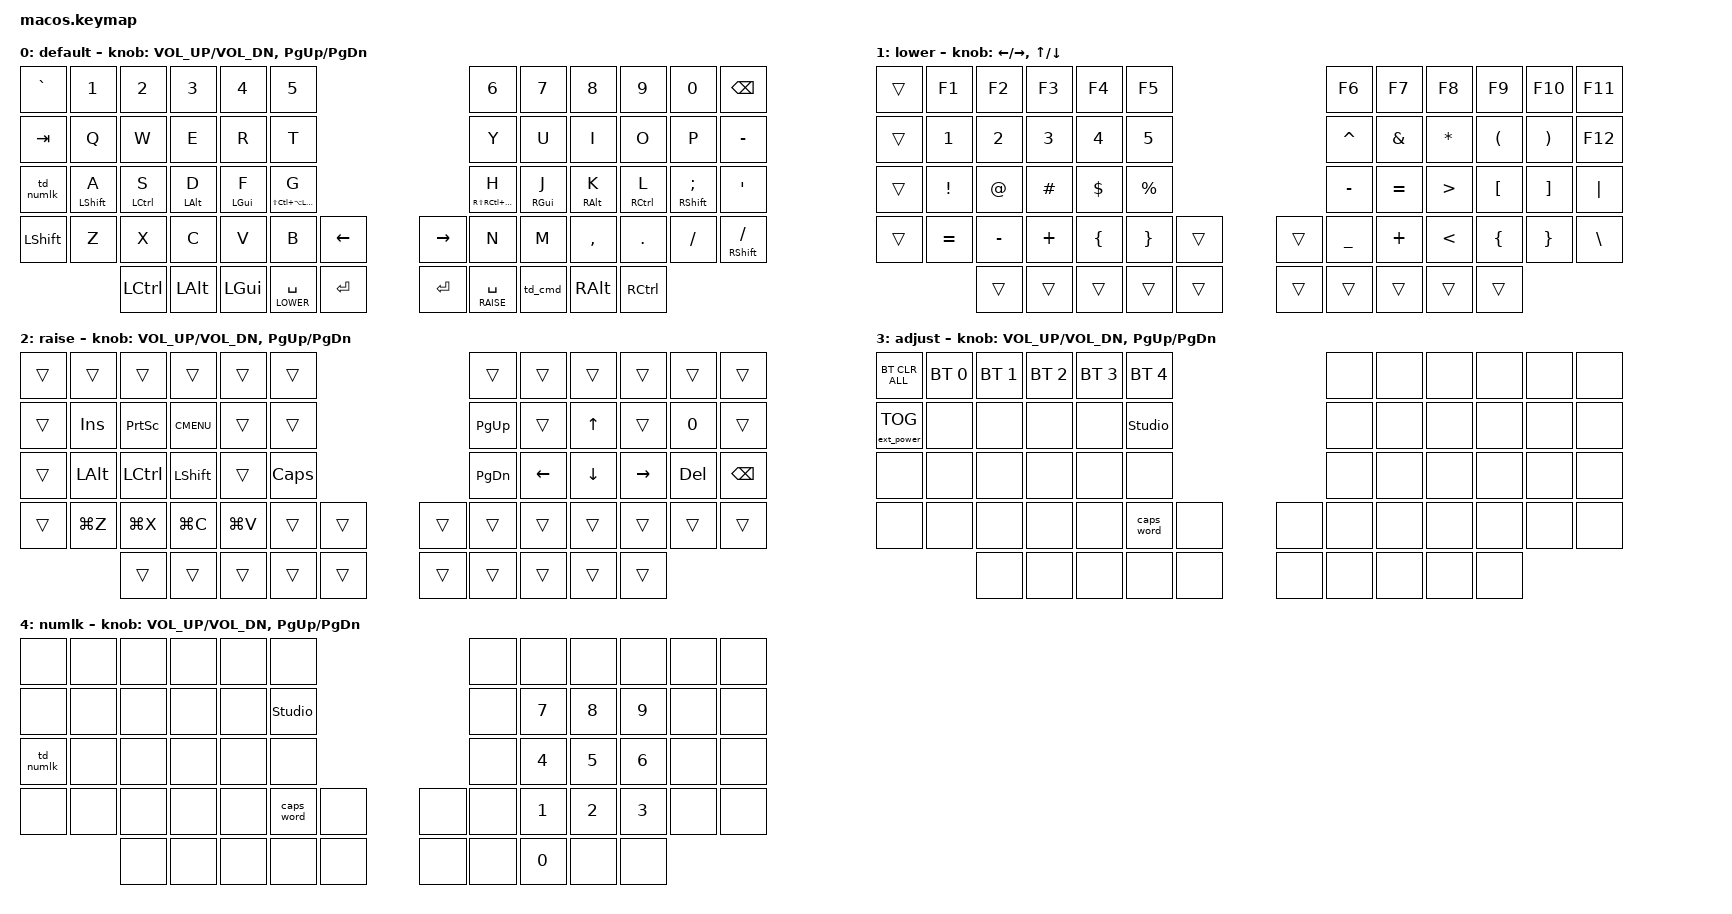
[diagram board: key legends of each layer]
/*
 * Profile: macos
 * Description: macOS-optimized with SCAG home row mods, Hyper/Meh, numpad layer, Cmd+Z/X/C/V
 * Created: 2026-02-08
 * Based on: default
 */

/*
 * Copyright (c) 2020 The ZMK Contributors
 *
 * SPDX-License-Identifier: MIT
 */

#include <behaviors.dtsi>
#include <dt-bindings/zmk/bt.h>
#include <dt-bindings/zmk/ext_power.h>
#include <dt-bindings/zmk/keys.h>
#include <dt-bindings/zmk/pointing.h>

#define BASE 0
#define LOWER 1
#define RAISE 2
#define ADJUST 3
#define extra_layer 4

/ {
    // Activate ADJUST layer by pressing raise and lower

    conditional_layers {
        compatible = "zmk,conditional-layers";

        adjust_layer {
            if-layers = <LOWER RAISE>;
            then-layer = <ADJUST>;
        };
    };

    combos {
        compatible = "zmk,combos";

        backspace {
            bindings = <&kp BACKSPACE>;
            key-positions = <32 31>;
        };

        delete {
            bindings = <&kp DELETE>;
            key-positions = <27 33>;
        };

        esc {
            bindings = <&kp ESCAPE>;
            key-positions = <25 41>;
        };

        esc2 {
            bindings = <&kp ESCAPE>;
            key-positions = <0 12>;
        };
    };

    macros {
        hyper: hyper {
            compatible = "zmk,behavior-macro";
            #binding-cells = <0>;
            bindings
                = <&macro_press &kp LSHFT &kp LCTRL &kp LALT &kp LGUI>
                , <&macro_pause_for_release>
                , <&macro_release &kp LSHFT &kp LCTRL &kp LALT &kp LGUI>
                ;
        };

        hyper_space: hyper_space {
            compatible = "zmk,behavior-macro";
            #binding-cells = <0>;
            bindings
                = <&macro_press &kp LSHFT &kp LCTRL &kp LALT &kp LGUI>
                , <&macro_tap &kp SPACE>
                , <&macro_release &kp LSHFT &kp LCTRL &kp LALT &kp LGUI>
                ;
        };

    };

    behaviors {
        caps: caps {
            compatible = "zmk,behavior-caps-word";
            label = "CAPS";
            #binding-cells = <0>;
            continue-list = <POUND MINUS BACKSPACE UNDERSCORE>;
        };

        hml: home_row_mod_left {
            compatible = "zmk,behavior-hold-tap";
            #binding-cells = <2>;
            flavor = "balanced";
            tapping-term-ms = <280>;
            quick-tap-ms = <175>;
            require-prior-idle-ms = <150>;
            bindings = <&kp>, <&kp>;
            hold-trigger-key-positions = <6 7 8 9 10 11 18 19 20 21 22 23 30 31 32 33 34 35 43 44 45 46 47 48 49 50 51 52 53 54 55 56 57 58 59>;
            hold-trigger-on-release;
        };

        lts: layer_tap_smart {
            compatible = "zmk,behavior-hold-tap";
            #binding-cells = <2>;
            flavor = "balanced";
            tapping-term-ms = <280>;
            quick-tap-ms = <175>;
            require-prior-idle-ms = <150>;
            bindings = <&mo>, <&kp>;
        };

        td_numlk: tap_dance_numlk {
            compatible = "zmk,behavior-tap-dance";
            #binding-cells = <0>;
            tapping-term-ms = <200>;
            bindings = <&mo extra_layer>, <&tog extra_layer>;
        };

        td_cmd: tap_dance_cmd {
            compatible = "zmk,behavior-tap-dance";
            #binding-cells = <0>;
            tapping-term-ms = <200>;
            bindings = <&kp RGUI>, <&hyper_space>;
        };

        hmr: home_row_mod_right {
            compatible = "zmk,behavior-hold-tap";
            #binding-cells = <2>;
            flavor = "balanced";
            tapping-term-ms = <280>;
            quick-tap-ms = <175>;
            require-prior-idle-ms = <150>;
            bindings = <&kp>, <&kp>;
            hold-trigger-key-positions = <0 1 2 3 4 5 12 13 14 15 16 17 24 25 26 27 28 29 36 37 38 39 40 41 42 50 51 52 53 54 55 56 57 58 59>;
            hold-trigger-on-release;
        };
    };

    keymap {
        compatible = "zmk,keymap";

        default_layer {
            display-name = "default";

            // ------------------------------------------------------------------------------------------------------------
            // |  `~   |  1  |  2  |  3   |  4   |  5   |                   |  6   |  7    |  8    |  9   |   0   | BKSPC |
            // |  TAB  |  Q  |  W  |  E   |  R   |  T   |                   |  Y   |  U    |  I    |  O   |   P   |   -   |
            // | NMLK |sh/A |ct/S |op/D  |cm/F  |hy/G  |                   | me/H | cm/J  | op/K  | ct/L | sh/;  |   '   |
            // | SHIFT |  Z  |  X  |  C   |  V   |  B   |   [    |  |   ]   |  N   |  M    |  ,    |  .   |   /   | sf//  |
            //               | CTL | ALT  | CMD  |LW/SPC|  ENTER |  | ENTER |RS/SPC| CMD   | ALT   | CTRL |

            bindings = <
&kp GRAVE         &kp N1  &kp N2    &kp N3    &kp N4     &kp N5                                     &kp N6     &kp N7     &kp N8     &kp N9    &kp N0    &kp BSPC
&kp TAB           &kp Q   &kp W     &kp E     &kp R      &kp T                                      &kp Y      &kp U      &kp I      &kp O     &kp P     &kp MINUS
&td_numlk         &hml LSHFT A  &hml LCTRL S  &hml LALT D  &hml LGUI F  &hml LS(LC(LA(LGUI))) G                      &hmr RS(RC(RALT)) H      &hmr RGUI J  &hmr RALT K  &hmr RCTRL L  &hmr RSHFT SEMI  &kp SQT
&kp LSHFT         &kp Z   &kp X     &kp C     &kp V      &kp B      &kp LEFT    &kp RIGHT           &kp N      &kp M      &kp COMMA  &kp DOT   &kp FSLH  &mt RSHFT FSLH
                          &kp LCTRL  &kp LALT  &kp LGUI   &lts LOWER SPACE  &kp ENTER     &kp ENTER         &lts RAISE SPACE  &td_cmd   &kp RALT   &kp RCTRL
            >;

            sensor-bindings = <&inc_dec_kp C_VOL_UP C_VOL_DN &inc_dec_kp PG_UP PG_DN>;
        };

        lower_layer {
            display-name = "lower";

            // TODO: Some binds are waiting for shifted keycode support.
            // ------------------------------------------------------------------------------------------------------------
            // |       |  F1 |  F2 |  F3  |  F4  |  F5  |                   |  F6  |  F7   |  F8   |  F9  |  F10  |  F11  |
            // |   `   |  1  |  2  |  3   |  4   |  5   |                   |  6   |  7    |  8    |  9   |   0   |  F12  |
            // |       |  !  |  @  |  #   |  $   |  %   |                   |  ^   |  &    |  *    |  (   |   )   |   |   |
            // |       |  =  |  -  |  +   |  {   |  }   |        |  |       |  [   |  ]    |  ;    |  :   |   \   |       |
            //               |     |      |      |      |        |  |       |      |       |       |      |

            bindings = <
&trans  &kp F1     &kp F2     &kp F3    &kp F4    &kp F5                       &kp F6          &kp F7         &kp F8          &kp F9                &kp F10                &kp F11
&trans  &kp N1     &kp N2     &kp N3    &kp N4    &kp N5                       &kp CARET       &kp AMPERSAND  &kp ASTRK       &kp LEFT_PARENTHESIS  &kp RIGHT_PARENTHESIS  &kp F12
&trans  &kp EXCL   &kp AT     &kp HASH  &kp DLLR  &kp PRCNT                    &kp MINUS       &kp EQUAL      &kp GREATER_THAN  &kp LEFT_BRACKET      &kp RIGHT_BRACKET      &kp PIPE
&trans  &kp EQUAL  &kp MINUS  &kp PLUS  &kp LBRC  &kp RBRC   &trans    &trans  &kp UNDERSCORE  &kp PLUS       &kp LESS_THAN   &kp LEFT_BRACE        &kp RIGHT_BRACE        &kp BACKSLASH
                   &trans     &trans    &trans    &trans     &trans    &trans  &trans          &trans         &trans          &trans
            >;

            sensor-bindings =
                <&inc_dec_kp LEFT_ARROW RIGHT_ARROW>,
                <&inc_dec_kp UP_ARROW DOWN_ARROW>;
        };

        raise_layer {
            display-name = "raise";

            // ------------------------------------------------------------------------------------------------------------
            // | BTCLR | BT1  | BT2  |  BT3  |  BT4  |  BT5 |                |      |      |       |      |       |       |
            // |       | INS  | PSCR | GUI   |       |      |                | PGUP |      |   ^   |      |       |       |
            // |       | ALT  | CTRL | SHIFT |       | CAPS |                | PGDN |   <- |   v   |  ->  |  DEL  | BKSPC |
            // |       |⌘+Z   |⌘+X   |⌘+C    |⌘+V    |      |      |  |      |      |      |       |      |       |       |
            //                |      |       |       |      |      |  |      |      |      |       |      |

            bindings = <
&trans  &trans      &trans     &trans       &trans       &trans                      &trans     &trans    &trans    &trans     &trans   &trans
&trans  &kp INS     &kp PSCRN  &kp K_CMENU  &trans       &trans                      &kp PG_UP  &trans    &kp UP    &trans     &kp N0   &trans
&trans  &kp LALT    &kp LCTRL  &kp LSHFT    &trans       &kp CLCK                    &kp PG_DN  &kp LEFT  &kp DOWN  &kp RIGHT  &kp DEL  &kp BSPC
&trans  &kp LG(Z)   &kp LG(X)  &kp LG(C)    &kp LG(V)    &trans    &trans    &trans  &trans     &trans    &trans    &trans     &trans   &trans
                    &trans     &trans       &trans       &trans    &trans    &trans  &trans     &trans    &trans    &trans
            >;

            sensor-bindings = <&inc_dec_kp C_VOL_UP C_VOL_DN &inc_dec_kp PG_UP PG_DN>;
        };

        adjust_layer {
            // ----------------------------------------------------------------------------------------------------------------------------
            // | BTCLR  |  BT1    |  BT2    |   BT3   |   BT4   |   BT5   |                  |      |      |       |      |       |       |
            // | EXTPWR | RGB_HUD | RGB_HUI | RGB_SAD | RGB_SAI | RGB_EFF |                  |      |      |       |      |       |       |
            // |        | RGB_BRD | RGB_BRI |         |         |         |                  |      |      |       |      |       |       |
            // |        |         |         |         |         |         | RGB_TOG | |      |      |      |       |      |       |       |
            //                    |         |         |         |         |         | |      |      |      |       |      |

            display-name = "adjust";
            bindings = <
&bt BT_CLR_ALL     &bt BT_SEL 0  &bt BT_SEL 1  &bt BT_SEL 2  &bt BT_SEL 3  &bt BT_SEL 4                  &none  &none  &none  &none  &none  &none
&ext_power EP_TOG  &none         &none         &none         &none         &studio_unlock                         &none  &none  &none  &none  &none  &none
&none              &none         &none         &none         &none         &none                         &none  &none  &none  &none  &none  &none
&none              &none         &none         &none         &none         &caps_word    &none    &none  &none  &none  &none  &none  &none  &none
                                 &none         &none         &none         &none         &none    &none  &none  &none  &none  &none
            >;

            sensor-bindings = <&inc_dec_kp C_VOL_UP C_VOL_DN &inc_dec_kp PG_UP PG_DN>;
        };
        extra_layer {
            // ----------------------------------------------------------------------------------------------------------------------------
            // | BTCLR  |  BT1    |  BT2    |   BT3   |   BT4   |   BT5   |                  |      |      |       |      |       |       |
            // | EXTPWR | RGB_HUD | RGB_HUI | RGB_SAD | RGB_SAI | RGB_EFF |                  |      |      |       |      |       |       |
            // |        | RGB_BRD | RGB_BRI |         |         |         |                  |      |      |       |      |       |       |
            // |        |         |         |         |         |         | RGB_TOG | |      |      |      |       |      |       |       |
            //                    |         |         |         |         |         | |      |      |      |       |      |

            display-name = "numlk";

            // ----------------------------------------------------------------------------------------------------------------------------
            // |        |         |         |         |         |         |                  |      |   7  |   8   |   9  |       |       |
            // |        |         |         |         |         |         |                  |      |   4  |   5   |   6  |       |       |
            // |        |         |         |         |         |         |        | |       |      |   1  |   2   |   3  |       |       |
            //                    |         |         |         |         |        | |       |      |   0  |       |      |

            bindings = <
&none              &none         &none         &none         &none         &none           &none  &none    &none    &none    &none    &none
&none              &none         &none         &none         &none         &studio_unlock  &none  &kp N7   &kp N8   &kp N9   &none    &none
&td_numlk          &none         &none         &none         &none         &none           &none  &kp N4   &kp N5   &kp N6   &none    &none
&none              &none         &none         &none         &none         &caps_word      &none  &none  &none    &kp N1   &kp N2   &kp N3   &none    &none
                                 &none         &none         &none         &none           &none  &none  &none    &kp N0   &none    &none
            >;

            sensor-bindings = <&inc_dec_kp C_VOL_UP C_VOL_DN &inc_dec_kp PG_UP PG_DN>;
        };
    };
};
